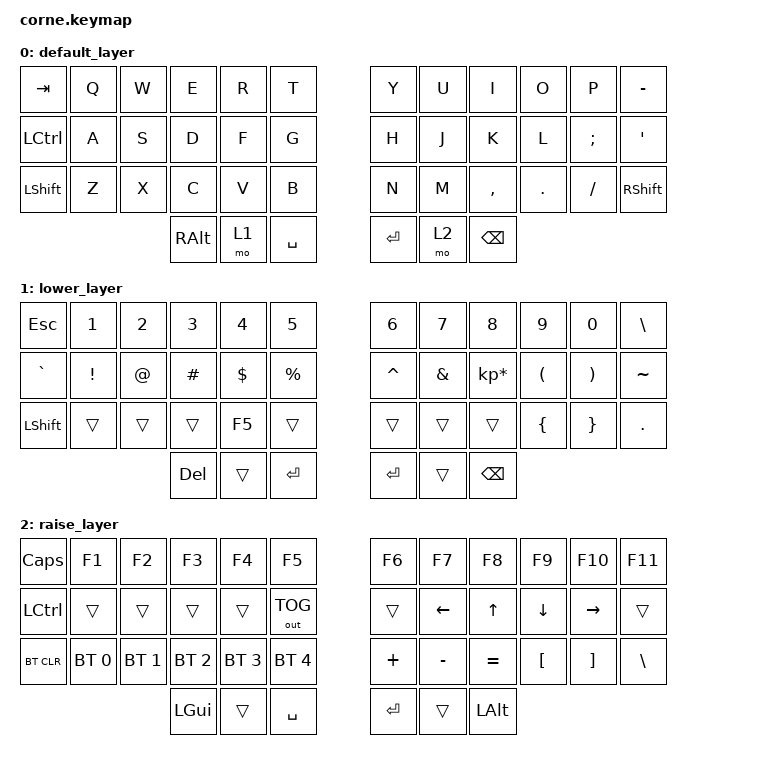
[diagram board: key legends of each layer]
/*
 * Copyright (c) 2020 The ZMK Contributor
 * 
 * SPDX-License-Identifier: MIT
 */
#include <behaviors.dtsi>
#include <dt-bindings/zmk/keys.h>
#include <dt-bindings/zmk/bt.h>
#include <dt-bindings/zmk/outputs.h>
/ {
        keymap {
                compatible = "zmk,keymap";
                default_layer {
// -----------------------------------------------------------------------------------------
// |  TAB |  Q  |  W  |  E  |  R  |  T  |   |  Y  |  U   |  I  |  O  |  P  |  - |
// | CTRL |  A  |  S  |  D  |  F  |  G  |   |  H  |  J   |  K  |  L  |  ;  |  '   |
// | SHFT |  Z  |  X  |  C  |  V  |  B  |   |  N  |  M   |  ,  |  .  |  /  | SHFT  |
//                    | RALT | LWR | SPC |   | ENT | RSE  | BCSP |
                        bindings = <
   &kp TAB   &kp Q &kp W &kp E &kp R &kp T   &kp Y &kp U  &kp I     &kp O   &kp P    &kp MINUS
   &kp LCTRL &kp A &kp S &kp D &kp F &kp G   &kp H &kp J  &kp K     &kp L   &kp SEMI &kp SQT
   &kp LSHFT &kp Z &kp X &kp C &kp V &kp B   &kp N &kp M  &kp COMMA &kp DOT &kp FSLH &kp RSHFT
                  &kp RALT &mo 1 &kp SPACE   &kp RET &mo 2 &kp BSPC
                
                        >;
                };
                lower_layer {
// -----------------------------------------------------------------------------------------
// |  ESC |  1  |  2  |  3  |  4  |  5  |   |  6  |  7  |  8  |  9  |  0  |  \   |
// |   `  |  !  |  @  |  #  |  $  |  %  |   |  ^  |  &  |  *  |  (  |  )  |   ~  |
// | SHFT |     |     |     | F5  |     |   |     |     |     |  {  |  }  |   .  |
//                    | DEL |     | ENT |   | ENT |     |BCSP |
                        bindings = <
   &kp ESC    &kp N1     &kp N2    &kp N3       &kp N4       &kp N5         &kp N6   &kp N7   &kp N8    &kp N9    &kp N0 &kp BACKSLASH
   &kp GRAVE  &kp EXCL   &kp AT    &kp HASH     &kp DOLLAR   &kp PRCNT      &kp CARET &kp AMPS  &kp KP_MULTIPLY &kp LPAR  &kp RPAR  &kp TILDE
   &kp LSHFT  &trans     &trans    &trans       &kp F5       &trans         &trans    &trans   &trans      &kp LBRC  &kp RBRC  &kp DOT
                          	  &kp DELETE     &trans      &kp RET        &kp RET  &trans   &kp BSPC
                        >;
                };
                raise_layer {
// -----------------------------------------------------------------------------------------
// | CAPS | F1  |  F2 | F3  | F4  | F5  |   | F6  |  F7  |  F8  |  F9  |  F10  |  F11  |
// | CTRL |     |     |     |     |OUT_TOG|   |     | LFT |  UP | DWN | RGT |     |
// |BT_CLR| BT1 | BT2 | BT3 | BT4 | BT5 |   |  +  |  -  |  =  |  [  |  ]  |  \  |
//                    | GUI |     | SPC |   | ENT |     |LALT |
                        bindings = <
   &kp  CAPSLOCK  &kp F1 &kp F2 &kp F3 &kp F4 &kp F5   &kp F6 &kp F7  &kp F8  &kp F9 &kp F10 &kp F11
   &kp LCTRL &trans   &trans &trans   &trans   &out OUT_TOG      &trans    &kp LEFT  &kp UP           &kp DOWN &kp RIGHT  &trans
   &bt BT_CLR       &bt BT_SEL 0 &bt BT_SEL 1 &bt BT_SEL 2 &bt BT_SEL 3 &bt BT_SEL 4      &kp PLUS &kp MINUS  &kp EQUAL   &kp LBKT &kp RBKT &kp BSLH
                    	     &kp LGUI &trans   &kp SPACE   &kp RET   &trans    &kp LALT
                        >;
                };
        };
};
